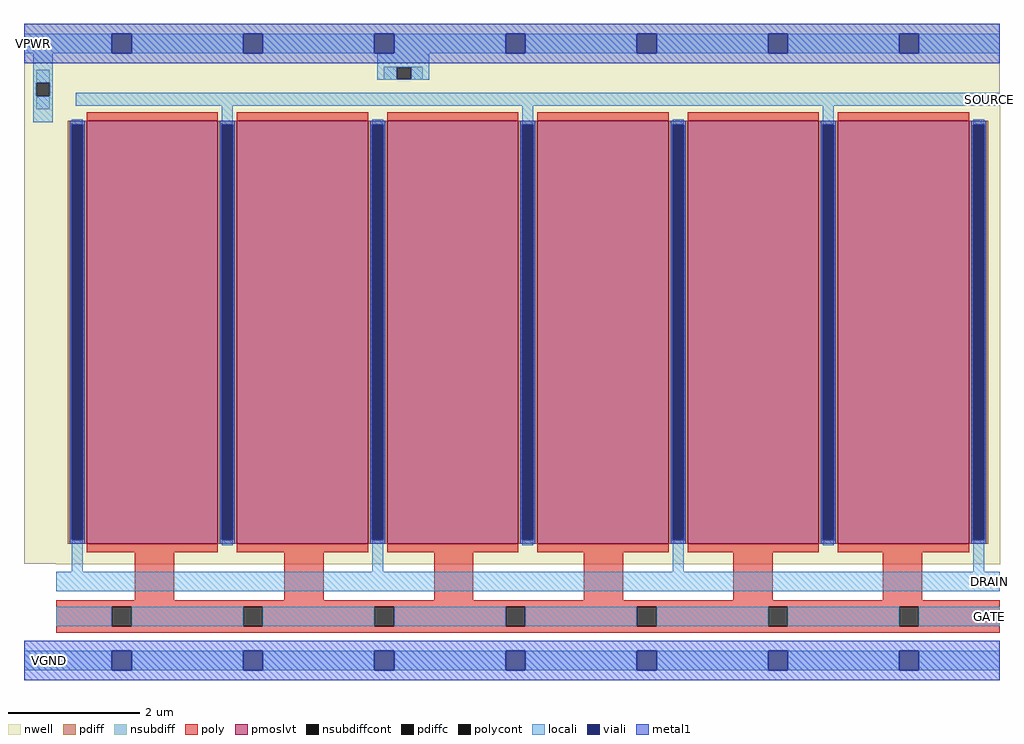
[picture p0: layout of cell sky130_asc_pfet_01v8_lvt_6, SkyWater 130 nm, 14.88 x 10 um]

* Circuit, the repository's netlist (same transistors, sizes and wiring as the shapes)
* NGSPICE file created from sky130_asc_pfet_01v8_lvt_6.ext - technology: sky130A

.subckt sky130_asc_pfet_01v8_lvt_6 GATE SOURCE DRAIN VGND VPWR
X0 SOURCE GATE DRAIN VPWR sky130_fd_pr__pfet_01v8_lvt ad=5.6115e+12p pd=4.044e+07u as=7.482e+12p ps=5.392e+07u w=6.45e+06u l=2e+06u
X1 SOURCE GATE DRAIN VPWR sky130_fd_pr__pfet_01v8_lvt ad=0p pd=0u as=0p ps=0u w=6.45e+06u l=2e+06u
X2 DRAIN GATE SOURCE VPWR sky130_fd_pr__pfet_01v8_lvt ad=0p pd=0u as=0p ps=0u w=6.45e+06u l=2e+06u
X3 SOURCE GATE DRAIN VPWR sky130_fd_pr__pfet_01v8_lvt ad=0p pd=0u as=0p ps=0u w=6.45e+06u l=2e+06u
X4 DRAIN GATE SOURCE VPWR sky130_fd_pr__pfet_01v8_lvt ad=0p pd=0u as=0p ps=0u w=6.45e+06u l=2e+06u
X5 DRAIN GATE SOURCE VPWR sky130_fd_pr__pfet_01v8_lvt ad=0p pd=0u as=0p ps=0u w=6.45e+06u l=2e+06u
.ends

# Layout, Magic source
magic
tech sky130A
magscale 1 2
<< nwell >>
rect 120 1707 3094 1940
rect 120 294 3095 1707
rect 217 293 3095 294
<< pmoslvt >>
rect 311 355 711 1645
rect 769 355 1169 1645
rect 1227 355 1627 1645
rect 1685 355 2085 1645
rect 2143 355 2543 1645
rect 2601 355 3001 1645
<< pdiff >>
rect 253 1633 311 1645
rect 253 367 265 1633
rect 299 367 311 1633
rect 253 355 311 367
rect 711 1633 769 1645
rect 711 367 723 1633
rect 757 367 769 1633
rect 711 355 769 367
rect 1169 1633 1227 1645
rect 1169 367 1181 1633
rect 1215 367 1227 1633
rect 1169 355 1227 367
rect 1627 1633 1685 1645
rect 1627 367 1639 1633
rect 1673 367 1685 1633
rect 1627 355 1685 367
rect 2085 1633 2143 1645
rect 2085 367 2097 1633
rect 2131 367 2143 1633
rect 2085 355 2143 367
rect 2543 1633 2601 1645
rect 2543 367 2555 1633
rect 2589 367 2601 1633
rect 2543 355 2601 367
rect 3001 1633 3059 1645
rect 3001 367 3013 1633
rect 3047 367 3059 1633
rect 3001 355 3059 367
<< pdiffc >>
rect 265 367 299 1633
rect 723 367 757 1633
rect 1181 367 1215 1633
rect 1639 367 1673 1633
rect 2097 367 2131 1633
rect 2555 367 2589 1633
rect 3013 367 3047 1633
<< nsubdiff >>
rect 1216 1808 1336 1810
rect 158 1760 198 1800
rect 1216 1772 1256 1808
rect 1300 1772 1336 1808
rect 1216 1770 1336 1772
rect 158 1680 198 1720
<< nsubdiffcont >>
rect 1256 1772 1300 1808
rect 158 1720 198 1760
<< poly >>
rect 311 1645 711 1671
rect 769 1645 1169 1671
rect 1227 1645 1627 1671
rect 1685 1645 2085 1671
rect 2143 1645 2543 1671
rect 2601 1645 3001 1671
rect 311 329 711 355
rect 769 329 1169 355
rect 1227 329 1627 355
rect 1685 329 2085 355
rect 2143 329 2543 355
rect 2601 329 3001 355
rect 458 184 578 329
rect 914 184 1034 329
rect 1370 184 1490 329
rect 1826 184 1946 329
rect 2282 184 2402 329
rect 2738 184 2858 329
rect 218 164 3094 184
rect 218 104 388 164
rect 448 104 788 164
rect 848 104 1188 164
rect 1248 104 1588 164
rect 1648 104 1988 164
rect 2048 104 2388 164
rect 2448 104 2788 164
rect 2848 104 3094 164
rect 218 84 3094 104
<< polycont >>
rect 388 104 448 164
rect 788 104 848 164
rect 1188 104 1248 164
rect 1588 104 1648 164
rect 1988 104 2048 164
rect 2388 104 2448 164
rect 2788 104 2848 164
<< locali >>
rect 120 1850 388 1910
rect 448 1850 788 1910
rect 848 1850 1188 1910
rect 1248 1850 1588 1910
rect 1648 1850 1988 1910
rect 2048 1850 2388 1910
rect 2448 1850 2788 1910
rect 2848 1850 3094 1910
rect 148 1760 208 1850
rect 1196 1808 1356 1850
rect 1196 1772 1256 1808
rect 1300 1772 1356 1808
rect 1196 1770 1356 1772
rect 148 1720 158 1760
rect 198 1720 208 1760
rect 148 1640 208 1720
rect 278 1690 3094 1730
rect 265 1633 299 1649
rect 265 270 299 367
rect 723 1633 757 1690
rect 723 351 757 367
rect 1181 1633 1215 1649
rect 1181 270 1215 367
rect 1639 1633 1673 1690
rect 1639 351 1673 367
rect 2097 1633 2131 1649
rect 2097 270 2131 367
rect 2555 1633 2589 1690
rect 2555 351 2589 367
rect 3013 1633 3047 1649
rect 3013 270 3047 367
rect 218 210 3094 270
rect 218 104 388 164
rect 448 104 788 164
rect 848 104 1188 164
rect 1248 104 1588 164
rect 1648 104 1988 164
rect 2048 104 2388 164
rect 2448 104 2788 164
rect 2848 104 3094 164
rect 120 -30 388 30
rect 448 -30 788 30
rect 848 -30 1188 30
rect 1248 -30 1588 30
rect 1648 -30 1988 30
rect 2048 -30 2388 30
rect 2448 -30 2788 30
rect 2848 -30 3094 30
<< viali >>
rect 388 1850 448 1910
rect 788 1850 848 1910
rect 1188 1850 1248 1910
rect 1588 1850 1648 1910
rect 1988 1850 2048 1910
rect 2388 1850 2448 1910
rect 2788 1850 2848 1910
rect 265 367 299 1633
rect 723 367 757 1633
rect 1181 367 1215 1633
rect 1639 367 1673 1633
rect 2097 367 2131 1633
rect 2555 367 2589 1633
rect 3013 367 3047 1633
rect 388 -30 448 30
rect 788 -30 848 30
rect 1188 -30 1248 30
rect 1588 -30 1648 30
rect 1988 -30 2048 30
rect 2388 -30 2448 30
rect 2788 -30 2848 30
<< metal1 >>
rect 120 1910 3094 1940
rect 120 1850 388 1910
rect 448 1850 788 1910
rect 848 1850 1188 1910
rect 1248 1850 1588 1910
rect 1648 1850 1988 1910
rect 2048 1850 2388 1910
rect 2448 1850 2788 1910
rect 2848 1850 3094 1910
rect 120 1820 3094 1850
rect 259 1633 305 1645
rect 259 367 265 1633
rect 299 367 305 1633
rect 259 355 305 367
rect 717 1633 763 1645
rect 717 367 723 1633
rect 757 367 763 1633
rect 717 355 763 367
rect 1175 1633 1221 1645
rect 1175 367 1181 1633
rect 1215 367 1221 1633
rect 1175 355 1221 367
rect 1633 1633 1679 1645
rect 1633 367 1639 1633
rect 1673 367 1679 1633
rect 1633 355 1679 367
rect 2091 1633 2137 1645
rect 2091 367 2097 1633
rect 2131 367 2137 1633
rect 2091 355 2137 367
rect 2549 1633 2595 1645
rect 2549 367 2555 1633
rect 2589 367 2595 1633
rect 2549 355 2595 367
rect 3007 1633 3053 1645
rect 3007 367 3013 1633
rect 3047 367 3053 1633
rect 3007 355 3053 367
rect 120 30 3094 60
rect 120 -30 388 30
rect 448 -30 788 30
rect 848 -30 1188 30
rect 1248 -30 1588 30
rect 1648 -30 1988 30
rect 2048 -30 2388 30
rect 2448 -30 2788 30
rect 2848 -30 3094 30
rect 120 -60 3094 -30
<< labels >>
flabel nwell 120 1850 180 1910 1 FreeSans 800 0 0 0 VPWR
port 4 n power bidirectional
flabel metal1 120 -30 278 30 1 FreeSans 800 0 0 0 VGND
port 5 n ground bidirectional
flabel locali 3034 1690 3094 1730 1 FreeSans 800 0 0 0 SOURCE
port 2 n signal bidirectional
flabel locali 3034 210 3094 270 1 FreeSans 800 0 0 0 DRAIN
port 3 n signal bidirectional
flabel locali 3034 104 3094 164 1 FreeSans 800 0 0 0 GATE
port 1 n signal bidirectional
<< properties >>
string FIXED_BBOX 0 0 3395 1880
string LEFclass CORE
string LEFsite unitasc
<< end >>
